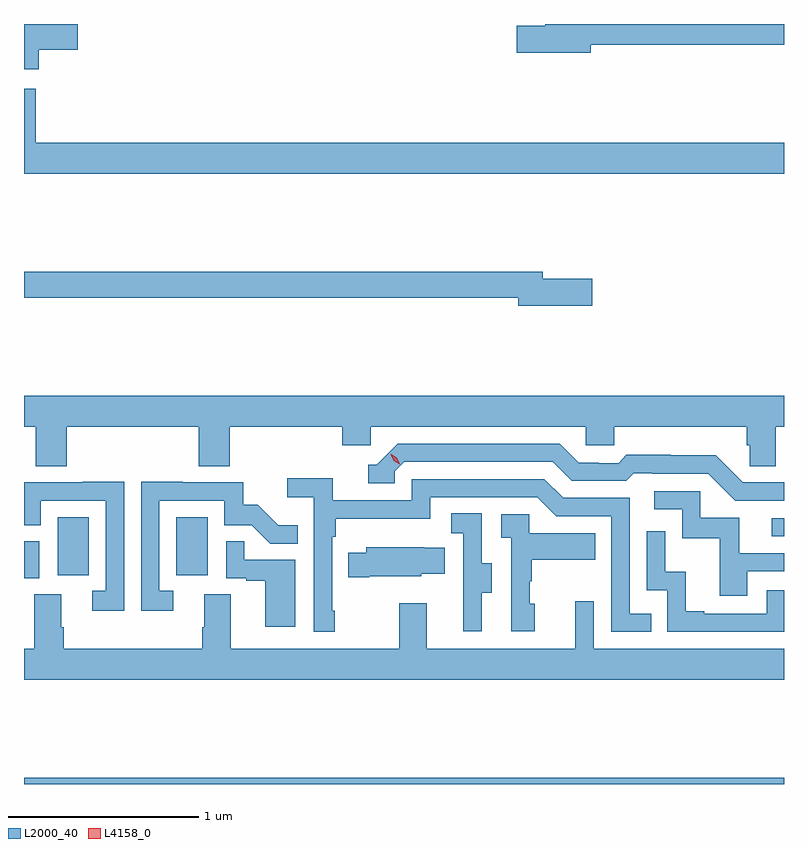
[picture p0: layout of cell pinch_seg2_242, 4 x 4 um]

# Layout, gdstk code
import gdstk
lib = gdstk.Library(unit=1e-6, precision=1e-09)
def R(c, l, rs):  # rectangles x0, y0, x1, y1
    for r in rs: c.add(gdstk.rectangle(r[:2], r[2:], *l))
def P(c, l, *ps):  # polygons
    for p in ps: c.add(gdstk.Polygon(p, *l))
L2000_40 = (2000, 40)
L4158_0 = (4158, 0)

pinch_seg2_242 = lib.new_cell('pinch_seg2_242')
R(pinch_seg2_242, L2000_40, [(934.636,661.74,938.636,661.772), (934.636,662.823,934.716,663.017), (934.814,662.838,934.978,663.145), (935.438,662.838,935.602,663.145), (938.571,663.045,938.636,663.138)])
P(pinch_seg2_242, L2000_40, [(937.618,665.632),(938.636,665.632),(938.636,665.74),(937.379,665.74),(937.379,665.732),(937.23,665.732),(937.23,665.59),(937.618,665.59)],
  [(934.714,665.605),(934.918,665.605),(934.918,665.74),(934.636,665.74),(934.636,665.501),(934.714,665.501)],
  [(938.636,665.116),(934.699,665.116),(934.699,665.398),(934.636,665.398),(934.636,664.952),(938.636,664.952)],
  [(937.627,664.4),(937.366,664.4),(937.366,664.436),(934.636,664.436),(934.636,664.3),(937.238,664.3),(937.238,664.258),(937.627,664.258)],
  [(934.862,663.62),(935.555,663.62),(935.555,663.412),(935.72,663.412),(935.72,663.62),(936.311,663.62),(936.311,663.522),(936.462,663.522),(936.462,663.62),(937.593,663.62),(937.593,663.522),(937.743,663.522),(937.743,663.62),(938.441,663.62),(938.441,663.522),(938.455,663.522),(938.455,663.412),(938.592,663.412),(938.592,663.62),(938.636,663.62),(938.636,663.784),(934.636,663.784),(934.636,663.62),(934.697,663.62),(934.697,663.412),(934.862,663.412)],
  [(938.636,663.329),(938.634,663.327),(938.418,663.327),(938.276,663.469),(938.04,663.469),(938.04,663.472),(937.807,663.472),(937.765,663.429),(937.662,663.429),(937.662,663.432),(937.555,663.432),(937.456,663.531),(936.603,663.531),(936.492,663.42),(936.449,663.42),(936.449,663.324),(936.588,663.324),(936.588,663.387),(936.636,663.435),(937.419,663.435),(937.518,663.336),(937.807,663.336),(937.846,663.375),(937.945,663.375),(937.945,663.372),(938.238,663.372),(938.379,663.231),(938.636,663.231)],
  [(936.271,662.653),(936.258,662.653),(936.258,663.041),(936.278,663.041),(936.278,663.137),(936.774,663.137),(936.774,663.249),(937.338,663.249),(937.437,663.15),(937.728,663.15),(937.728,662.541),(937.937,662.541),(937.937,662.637),(937.824,662.637),(937.824,663.246),(937.474,663.246),(937.375,663.345),(936.678,663.345),(936.678,663.234),(936.26,663.234),(936.26,663.35),(936.021,663.35),(936.021,663.248),(936.162,663.248),(936.162,662.541),(936.271,662.541)],
  [(935.422,662.757),(935.349,662.757),(935.349,663.231),(935.691,663.231),(935.691,663.102),(935.835,663.102),(935.933,663.004),(936.077,663.004),(936.077,663.103),(935.973,663.103),(935.866,663.21),(935.79,663.21),(935.79,663.327),(935.471,663.327),(935.471,663.332),(935.253,663.332),(935.253,662.652),(935.422,662.652)],
  [(935.163,663.332),(934.945,663.332),(934.945,663.327),(934.636,663.327),(934.636,663.102),(934.725,663.102),(934.725,663.231),(935.067,663.231),(935.067,662.757),(934.995,662.757),(934.995,662.652),(935.163,662.652)],
  [(938.443,662.859),(938.636,662.859),(938.636,662.955),(938.401,662.955),(938.401,663.141),(938.196,663.141),(938.196,663.282),(937.953,663.282),(937.953,663.186),(938.1,663.186),(938.1,663.033),(938.299,663.033),(938.299,662.73),(938.443,662.73)],
  [(937.045,662.746),(937.099,662.746),(937.099,662.901),(937.044,662.901),(937.044,663.164),(936.885,663.164),(936.885,663.061),(936.948,663.061),(936.948,662.757),(936.947,662.757),(936.947,662.544),(937.045,662.544)],
  [(937.324,662.688),(937.299,662.688),(937.299,662.807),(937.309,662.807),(937.309,662.921),(937.643,662.921),(937.643,663.061),(937.296,663.061),(937.296,663.159),(937.149,663.159),(937.149,663.035),(937.2,663.035),(937.2,662.544),(937.324,662.544)],
  [(938.636,662.76),(938.544,662.76),(938.544,662.637),(938.215,662.637),(938.215,662.65),(938.12,662.65),(938.12,662.858),(938.01,662.858),(938.01,663.07),(937.914,663.07),(937.914,662.76),(938.022,662.76),(938.022,662.541),(938.636,662.541)],
  [(936.064,662.919),(935.795,662.919),(935.795,663.017),(935.7,663.017),(935.7,662.823),(935.807,662.823),(935.807,662.811),(935.906,662.811),(935.906,662.568),(936.064,662.568)],
  [(936.454,662.834),(936.726,662.834),(936.726,662.846),(936.851,662.846),(936.851,662.983),(936.743,662.983),(936.743,662.986),(936.437,662.986),(936.437,662.956),(936.343,662.956),(936.343,662.827),(936.454,662.827)],
  [(938.636,662.452),(937.635,662.452),(937.635,662.701),(937.538,662.701),(937.538,662.452),(936.757,662.452),(936.757,662.692),(936.61,662.692),(936.61,662.452),(935.725,662.452),(935.725,662.738),(935.585,662.738),(935.585,662.564),(935.573,662.564),(935.573,662.452),(934.844,662.452),(934.844,662.564),(934.831,662.564),(934.831,662.738),(934.691,662.738),(934.691,662.452),(934.636,662.452),(934.636,662.288),(938.636,662.288)])
P(pinch_seg2_242, L4158_0, [(936.614,663.423),(936.583,663.442),(936.567,663.475),(936.567,663.475),(936.568,663.475),(936.598,663.456),(936.614,663.423),(936.614,663.423)])

lib.write_gds('pinch_seg2_242.gds')
